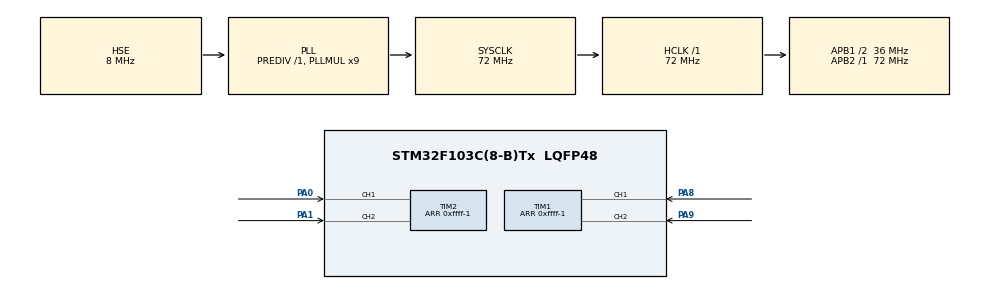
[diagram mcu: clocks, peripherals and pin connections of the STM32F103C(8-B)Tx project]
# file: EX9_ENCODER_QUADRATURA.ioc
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Mcu.Family=STM32F1
Mcu.Name=STM32F103C(8-B)Tx
Mcu.Package=LQFP48
NVIC.PriorityGroup=NVIC_PRIORITYGROUP_4
NVIC.TIM1_UP_IRQn=true\:0\:0\:false\:false\:true\:true\:true
NVIC.TIM2_IRQn=true\:0\:0\:false\:false\:true\:true\:true
NVIC.TIM3_IRQn=true\:0\:0\:false\:false\:true\:true\:true
PA0-WKUP.Signal=S_TIM2_CH1_ETR
PA1.Signal=S_TIM2_CH2
PA13.Mode=Serial_Wire
PA13.Signal=SYS_JTMS-SWDIO
PA14.Mode=Serial_Wire
PA14.Signal=SYS_JTCK-SWCLK
PA8.Signal=S_TIM1_CH1
PA9.Signal=S_TIM1_CH2
PD0-OSC_IN.Mode=HSE-External-Oscillator
PD0-OSC_IN.Signal=RCC_OSC_IN
PD1-OSC_OUT.Mode=HSE-External-Oscillator
PD1-OSC_OUT.Signal=RCC_OSC_OUT
ProjectManager.HeapSize=0x200
ProjectManager.StackSize=0x400
ProjectManager.TargetToolchain=STM32CubeIDE
RCC.AHBFreq_Value=72000000
RCC.APB1CLKDivider=RCC_HCLK_DIV2
RCC.APB1Freq_Value=36000000
RCC.APB1TimFreq_Value=72000000
RCC.APB2Freq_Value=72000000
RCC.APB2TimFreq_Value=72000000
RCC.HCLKFreq_Value=72000000
RCC.PLLMUL=RCC_PLL_MUL9
RCC.PLLSourceVirtual=RCC_PLLSOURCE_HSE
RCC.SYSCLKFreq_VALUE=72000000
RCC.SYSCLKSource=RCC_SYSCLKSOURCE_PLLCLK
RCC.USBFreq_Value=72000000
SH.S_TIM1_CH1.0=TIM1_CH1,Encoder_Interface
SH.S_TIM1_CH2.0=TIM1_CH2,Encoder_Interface
SH.S_TIM2_CH1_ETR.0=TIM2_CH1,Encoder_Interface
SH.S_TIM2_CH2.0=TIM2_CH2,Encoder_Interface
TIM1.EncoderMode=TIM_ENCODERMODE_TI12
TIM1.Period=0xffff-1
TIM2.EncoderMode=TIM_ENCODERMODE_TI12
TIM2.Period=0xffff-1
TIM3.Period=720-1
TIM3.Prescaler=100-1
VP_TIM3_VS_ClockSourceINT.Mode=Internal
board=custom

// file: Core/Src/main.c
/* USER CODE BEGIN Header */
/**
  ******************************************************************************
  * @file           : main.c
  * @brief          : Main program body
  ******************************************************************************
  *					EXEMPLO DE ENCODER DE QUADRATURA (stm32f103c8)
  ******************************************************************************
  * Aluno:        Ruan Robert Bispo dos Santos                            2019.2
  * Orientadores: Lucas Molina e Elyson Adan Nunes Carvalho
  *
  * CODIGO DA PLACA DE INTERFACE DO MATLAB COM O STM32F103C8
  *
  * @Resumo: Código teste para o encoder de quadratura com a resolução de 1440
  * 		 furos por revolução. Nesse código é implementada a detecção de
  * 		 posição e velocidade de dois encoders (TIMER1 e TIMER2),utilizando
  * 		 como base de tempo um contator definido pelo TIMER3.
  * 		 É possível visualizar as variáveis no modo debug, ou pode ser
  * 		 utilizado o exemplo de USB para enviar os dados e visualizar no PC
  *
  * 		 OBS1: É feita uma configuração manual para interrupção por borda de
  * 		 subida e descida, uma vez que a plataforma CUBEIDE é limitada a
  * 		 apenas uma das opções. Isso é feito no final da main.c, utilizando
  * 		 a parte editável das funções:
  *
  * 		 	static void MX_TIM2_Init(void)
  * 		 	static void MX_TIM2_Init(void)
  *
  * 		 OBS2: Os Timers de leitura do encoder precisam ser configurados com
  * 		 o prescaler igual a zero para a contagem ser correta. Do contrário,
  * 		 haverá uma divisão em torno da medida. (IMPORTANTE LEMBRAR)
  *
  *
  * @Configurações:
  *   		 Clock   - 72 MHz
  *   		 TIMER1	 - usado para ler o encoder 1
  *   		 TIMER2	 - usado para ler o encoder 2
  *   		 TIMER3	 - usado como base fixa de tempo para calculo de velocidade
  *
  *
  ******************************************************************************
  * @attention
  *
  * <h2><center>&copy; Copyright (c) 2020 STMicroelectronics.
  * All rights reserved.</center></h2>
  *
  * This software component is licensed by ST under BSD 3-Clause license,
  * the "License"; You may not use this file except in compliance with the
  * License. You may obtain a copy of the License at:
  *                        opensource.org/licenses/BSD-3-Clause
  *
  ******************************************************************************
  */
/* USER CODE END Header */

#include "main.h"

TIM_HandleTypeDef htim1;
TIM_HandleTypeDef htim2;
TIM_HandleTypeDef htim3;

/* USER CODE BEGIN PV */

uint16_t POSICAO_ENCODER1; //variavel de posição do encoder 1 (0 a 1440)
uint16_t POSICAO_ENCODER2; //variavel de posição do encoder 2 (0 a 1440)

float POSICAO_ENCODER1_GRAUS; //variavel de posição do encoder 1 (0 a 360 graus)
float POSICAO_ENCODER2_GRAUS; //variavel de posição do encoder 2 (0 a 360 graus)

float VELOCIDADE_ENCODER1; //variavel de velocidade
float VELOCIDADE_ENCODER2; //variael de velocidade

uint16_t POSICAO_ATUAL1; // variavel para calculo de velocidade encoder 1
uint16_t POSICAO_ATUAL2; // variavel para calculo de velocidade encoder 2

uint16_t POSICAO_ANTERIOR1; // variavel para calculo de velocidade encoder 1
uint16_t POSICAO_ANTERIOR2; // variavel para calculo de velocidade encoder 2

/* USER CODE END PV */

void SystemClock_Config(void);
static void MX_GPIO_Init(void);
static void MX_TIM1_Init(void);
static void MX_TIM2_Init(void);
static void MX_TIM3_Init(void);

int main(void)
{

  /* MCU Configuration--------------------------------------------------------*/

  /* Reset of all peripherals, Initializes the Flash interface and the Systick. */
  HAL_Init();

  /* Configure the system clock */
  SystemClock_Config();

  /* Initialize all configured peripherals */
  MX_GPIO_Init();
  MX_TIM1_Init();
  MX_TIM2_Init();
  MX_TIM3_Init();

  /* Infinite loop */
  /* USER CODE BEGIN WHILE */
  while (1)
  {
	  ///////////////////////////////////////////////////////////////////////////////////////////
	  /////////////////////////// REGISTRO DE POSIÇÃO DO ENCODER ////////////////////////////////
	  ///////////////////////////////////////////////////////////////////////////////////////////
	  // O registrador em TIMx->CNT é responsável por contar cada vez que é completado um ciclo
	  // do encoder, ou seja, sempre que há borda de subida e descida de ambos os canais. Assim,
	  // como o encoder utilizado para esse exemplo possui uma resolução de 1440/revolução, temos
	  // que o contador pode ir de 0 a 1440, decrescendo caso o motor gire em um sentido e crescendo
	  // caso o motor gire em outro sentido.

	  POSICAO_ENCODER1 = TIM1->CNT; // variavel que recebe o registrador de posição do encoder
	  POSICAO_ENCODER2 = TIM2->CNT; // variavel que recebe o registrador de posição do encoder

	  POSICAO_ENCODER1_GRAUS = (360/1440)*POSICAO_ENCODER1; //converte saida para graus
	  POSICAO_ENCODER2_GRAUS = (360/1440)*POSICAO_ENCODER2; //converte saida para graus

	  ///////////////////////////////////////////////////////////////////////////////////////////
	  ///////////////////////////////////////////////////////////////////////////////////////////
	  //obs: lembrar de configurar manualmente as funções de Timer (Código no final da main)

	  ///////////////////////////////////////////////////////////////////////////////////////////
	  ///////////////////////// REGISTRO DE VELOCIDADE DO ENCODER ///////////////////////////////
	  ///////////////////////////////////////////////////////////////////////////////////////////
	  // Função disponível em Src/stm32f1xx.it.c
	  // Implementado na função:
	  //
	  //	  TIM3_IRQHandler(void) // Para seguir o caminho basta descomentar a função segurar Ctrl
	                                // e clicar com o botao esquerdo do mouse na função.

	  VELOCIDADE_ENCODER1; //variavel atualizada a cada interrupção de TIMER3
	  VELOCIDADE_ENCODER2; //variavel atualizada a cada interrupção de TIMER3

	  ///////////////////////////////////////////////////////////////////////////////////////////
	  ///////////////////////////////////////////////////////////////////////////////////////////

    /* USER CODE END WHILE */

  }
}

void SystemClock_Config(void)
{
  RCC_OscInitTypeDef RCC_OscInitStruct = {0};
  RCC_ClkInitTypeDef RCC_ClkInitStruct = {0};

  /** Initializes the CPU, AHB and APB busses clocks
  */
  RCC_OscInitStruct.OscillatorType = RCC_OSCILLATORTYPE_HSE;
  RCC_OscInitStruct.HSEState = RCC_HSE_ON;
  RCC_OscInitStruct.HSEPredivValue = RCC_HSE_PREDIV_DIV1;
  RCC_OscInitStruct.HSIState = RCC_HSI_ON;
  RCC_OscInitStruct.PLL.PLLState = RCC_PLL_ON;
  RCC_OscInitStruct.PLL.PLLSource = RCC_PLLSOURCE_HSE;
  RCC_OscInitStruct.PLL.PLLMUL = RCC_PLL_MUL9;
  if (HAL_RCC_OscConfig(&RCC_OscInitStruct) != HAL_OK)
  {
    Error_Handler();
  }
  /** Initializes the CPU, AHB and APB busses clocks
  */
  RCC_ClkInitStruct.ClockType = RCC_CLOCKTYPE_HCLK|RCC_CLOCKTYPE_SYSCLK
                              |RCC_CLOCKTYPE_PCLK1|RCC_CLOCKTYPE_PCLK2;
  RCC_ClkInitStruct.SYSCLKSource = RCC_SYSCLKSOURCE_PLLCLK;
  RCC_ClkInitStruct.AHBCLKDivider = RCC_SYSCLK_DIV1;
  RCC_ClkInitStruct.APB1CLKDivider = RCC_HCLK_DIV2;
  RCC_ClkInitStruct.APB2CLKDivider = RCC_HCLK_DIV1;

  if (HAL_RCC_ClockConfig(&RCC_ClkInitStruct, FLASH_LATENCY_2) != HAL_OK)
  {
    Error_Handler();
  }
}

static void MX_TIM1_Init(void)
{

  TIM_Encoder_InitTypeDef sConfig = {0};
  TIM_MasterConfigTypeDef sMasterConfig = {0};

  htim1.Instance = TIM1;
  htim1.Init.Prescaler = 0;
  htim1.Init.CounterMode = TIM_COUNTERMODE_UP;
  htim1.Init.Period = 0xffff-1;
  htim1.Init.ClockDivision = TIM_CLOCKDIVISION_DIV1;
  htim1.Init.RepetitionCounter = 0;
  htim1.Init.AutoReloadPreload = TIM_AUTORELOAD_PRELOAD_DISABLE;
  sConfig.EncoderMode = TIM_ENCODERMODE_TI12;
  sConfig.IC1Polarity = TIM_ICPOLARITY_RISING;
  sConfig.IC1Selection = TIM_ICSELECTION_DIRECTTI;
  sConfig.IC1Prescaler = TIM_ICPSC_DIV1;
  sConfig.IC1Filter = 0;
  sConfig.IC2Polarity = TIM_ICPOLARITY_RISING;
  sConfig.IC2Selection = TIM_ICSELECTION_DIRECTTI;
  sConfig.IC2Prescaler = TIM_ICPSC_DIV1;
  sConfig.IC2Filter = 0;
  if (HAL_TIM_Encoder_Init(&htim1, &sConfig) != HAL_OK)
  {
    Error_Handler();
  }
  sMasterConfig.MasterOutputTrigger = TIM_TRGO_RESET;
  sMasterConfig.MasterSlaveMode = TIM_MASTERSLAVEMODE_DISABLE;
  if (HAL_TIMEx_MasterConfigSynchronization(&htim1, &sMasterConfig) != HAL_OK)
  {
    Error_Handler();
  }
  /* USER CODE BEGIN TIM1_Init 2 */

  ///////////////////////////////////////////////////////////////////////////////////////////
  //////////////////// AJUSTE DE INTERRUPÇÃO DO ENCODER DE QUADRATURA ///////////////////////
  ///////////////////////////////////////////////////////////////////////////////////////////
  // Insere manualmente a opção de interrupção por subida e descida, uma vez que a CUBEIDE não
  // possui a opção ainda.
  // Obs.: o Hardware permite isso, essa é uma limitação da interface de configuração.

  sConfig.IC1Polarity = TIM_ICPOLARITY_BOTHEDGE;
  sConfig.IC2Polarity = TIM_ICPOLARITY_BOTHEDGE;

  ///////////////////////////////////////////////////////////////////////////////////////////
  ///////////////////////////////////////////////////////////////////////////////////////////

  /* USER CODE END TIM1_Init 2 */

}

static void MX_TIM2_Init(void)
{

  TIM_Encoder_InitTypeDef sConfig = {0};
  TIM_MasterConfigTypeDef sMasterConfig = {0};

  htim2.Instance = TIM2;
  htim2.Init.Prescaler = 0;
  htim2.Init.CounterMode = TIM_COUNTERMODE_UP;
  htim2.Init.Period = 0xffff-1;
  htim2.Init.ClockDivision = TIM_CLOCKDIVISION_DIV1;
  htim2.Init.AutoReloadPreload = TIM_AUTORELOAD_PRELOAD_DISABLE;
  sConfig.EncoderMode = TIM_ENCODERMODE_TI12;
  sConfig.IC1Polarity = TIM_ICPOLARITY_RISING;
  sConfig.IC1Selection = TIM_ICSELECTION_DIRECTTI;
  sConfig.IC1Prescaler = TIM_ICPSC_DIV1;
  sConfig.IC1Filter = 0;
  sConfig.IC2Polarity = TIM_ICPOLARITY_RISING;
  sConfig.IC2Selection = TIM_ICSELECTION_DIRECTTI;
  sConfig.IC2Prescaler = TIM_ICPSC_DIV1;
  sConfig.IC2Filter = 0;
  if (HAL_TIM_Encoder_Init(&htim2, &sConfig) != HAL_OK)
  {
    Error_Handler();
  }
  sMasterConfig.MasterOutputTrigger = TIM_TRGO_RESET;
  sMasterConfig.MasterSlaveMode = TIM_MASTERSLAVEMODE_DISABLE;
  if (HAL_TIMEx_MasterConfigSynchronization(&htim2, &sMasterConfig) != HAL_OK)
  {
    Error_Handler();
  }
  /* USER CODE BEGIN TIM2_Init 2 */

  ///////////////////////////////////////////////////////////////////////////////////////////
  //////////////////// AJUSTE DE INTERRUPÇÃO DO ENCODER DE QUADRATURA ///////////////////////
  ///////////////////////////////////////////////////////////////////////////////////////////
  // Insere manualmente a opção de interrupção por subida e descida, uma vez que a CUBEIDE não
  // possui a opção ainda.
  // Obs.: o Hardware permite isso, essa é uma limitação da interface de configuração.

  sConfig.IC1Polarity = TIM_ICPOLARITY_BOTHEDGE;
  sConfig.IC2Polarity = TIM_ICPOLARITY_BOTHEDGE;

  ///////////////////////////////////////////////////////////////////////////////////////////
  ///////////////////////////////////////////////////////////////////////////////////////////

  /* USER CODE END TIM2_Init 2 */

}

static void MX_TIM3_Init(void)
{

  TIM_ClockConfigTypeDef sClockSourceConfig = {0};
  TIM_MasterConfigTypeDef sMasterConfig = {0};

  htim3.Instance = TIM3;
  htim3.Init.Prescaler = 100-1;
  htim3.Init.CounterMode = TIM_COUNTERMODE_UP;
  htim3.Init.Period = 720-1;
  htim3.Init.ClockDivision = TIM_CLOCKDIVISION_DIV1;
  htim3.Init.AutoReloadPreload = TIM_AUTORELOAD_PRELOAD_DISABLE;
  if (HAL_TIM_Base_Init(&htim3) != HAL_OK)
  {
    Error_Handler();
  }
  sClockSourceConfig.ClockSource = TIM_CLOCKSOURCE_INTERNAL;
  if (HAL_TIM_ConfigClockSource(&htim3, &sClockSourceConfig) != HAL_OK)
  {
    Error_Handler();
  }
  sMasterConfig.MasterOutputTrigger = TIM_TRGO_RESET;
  sMasterConfig.MasterSlaveMode = TIM_MASTERSLAVEMODE_DISABLE;
  if (HAL_TIMEx_MasterConfigSynchronization(&htim3, &sMasterConfig) != HAL_OK)
  {
    Error_Handler();
  }

}

static void MX_GPIO_Init(void)
{

  /* GPIO Ports Clock Enable */
  __HAL_RCC_GPIOD_CLK_ENABLE();
  __HAL_RCC_GPIOA_CLK_ENABLE();

}

void Error_Handler(void)
{
}

/************************ (C) COPYRIGHT STMicroelectronics *****END OF FILE****/
